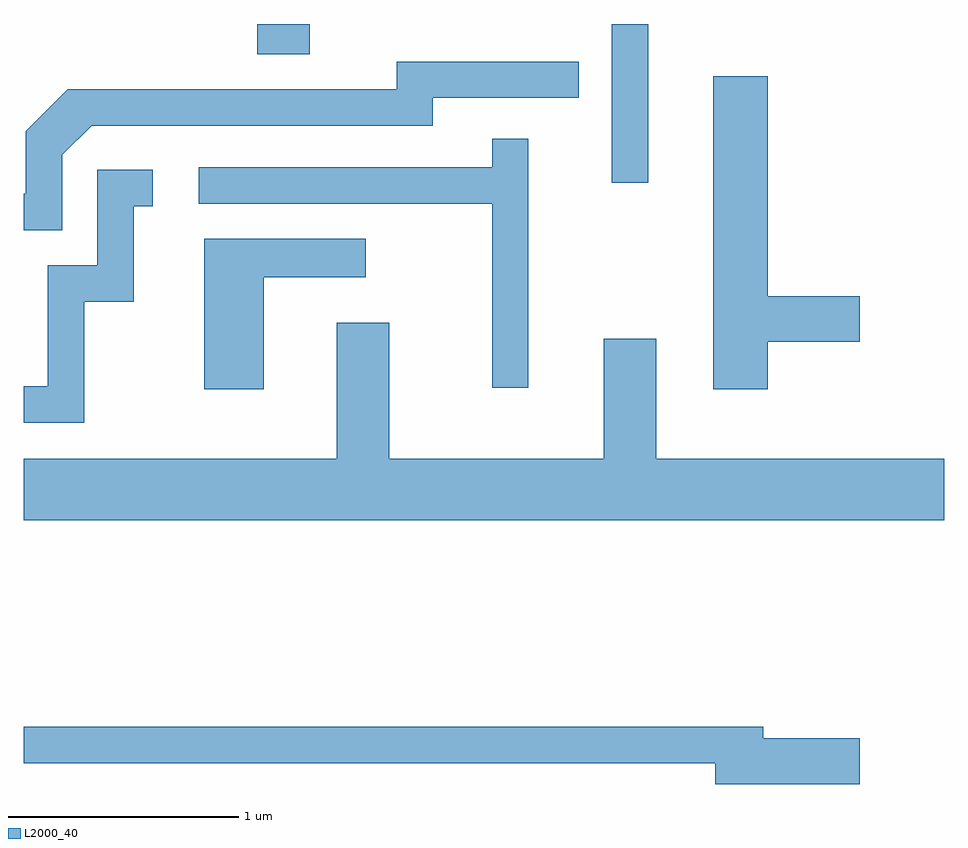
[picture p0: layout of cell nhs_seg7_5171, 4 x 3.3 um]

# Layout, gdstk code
import gdstk
lib = gdstk.Library(unit=1e-6, precision=1e-09)
def R(c, l, rs):  # rectangles x0, y0, x1, y1
    for r in rs: c.add(gdstk.rectangle(r[:2], r[2:], *l))
def P(c, l, *ps):  # polygons
    for p in ps: c.add(gdstk.Polygon(p, *l))
L2000_40 = (2000, 40)

nhs_seg7_5171 = lib.new_cell('nhs_seg7_5171')
R(nhs_seg7_5171, L2000_40, [(346.166,1713.563,346.324,1714.252), (344.626,1714.121,344.854,1714.252)])
P(nhs_seg7_5171, L2000_40, [(343.779,1713.684),(343.907,1713.811),(345.389,1713.811),(345.389,1713.931),(346.023,1713.931),(346.023,1714.089),(345.231,1714.089),(345.231,1713.969),(343.804,1713.969),(343.621,1713.787),(343.621,1713.514),(343.611,1713.514),(343.611,1713.356),(343.779,1713.356)],
  [(346.844,1712.871),(347.244,1712.871),(347.244,1713.069),(346.844,1713.069),(346.844,1714.024),(346.606,1714.024),(346.606,1712.666),(346.844,1712.666)],
  [(345.804,1713.753),(345.646,1713.753),(345.646,1713.629),(344.373,1713.629),(344.373,1713.471),(345.646,1713.471),(345.646,1712.673),(345.804,1712.673)],
  [(343.874,1713.046),(344.089,1713.046),(344.089,1713.461),(344.173,1713.461),(344.173,1713.619),(343.931,1713.619),(343.931,1713.204),(343.716,1713.204),(343.716,1712.679),(343.611,1712.679),(343.611,1712.521),(343.874,1712.521)],
  [(344.654,1713.151),(345.098,1713.151),(345.098,1713.319),(344.396,1713.319),(344.396,1712.666),(344.654,1712.666)],
  [(344.971,1712.954),(344.971,1712.364),(343.611,1712.364),(343.611,1712.096),(347.611,1712.096),(347.611,1712.364),(346.359,1712.364),(346.359,1712.884),(346.131,1712.884),(346.131,1712.364),(345.199,1712.364),(345.199,1712.954)],
  [(347.244,1711.149),(346.824,1711.149),(346.824,1711.199),(343.611,1711.199),(343.611,1711.041),(346.616,1711.041),(346.616,1710.951),(347.244,1710.951)])

lib.write_gds('nhs_seg7_5171.gds')
